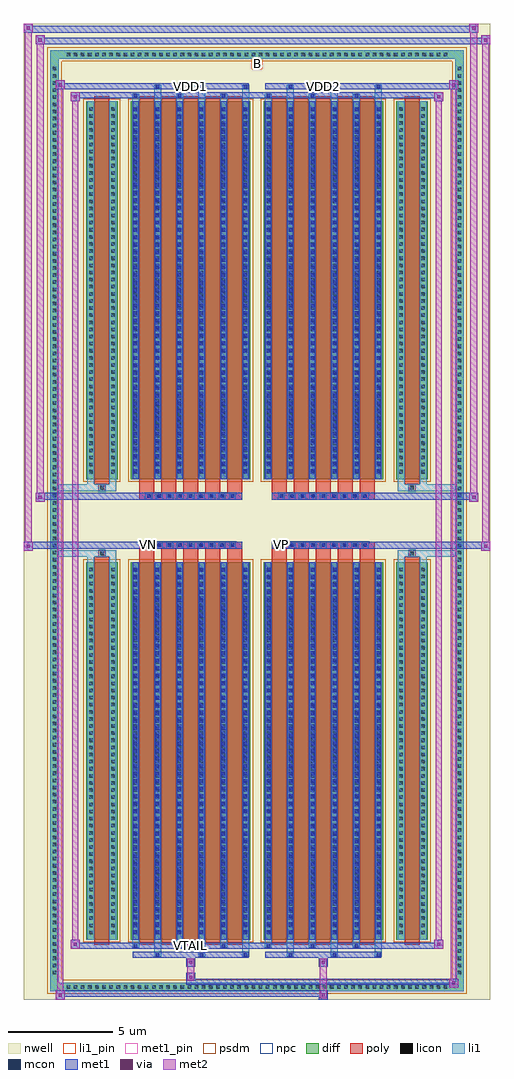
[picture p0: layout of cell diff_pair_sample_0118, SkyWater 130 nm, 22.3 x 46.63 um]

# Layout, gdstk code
import gdstk
lib = gdstk.Library(unit=1e-6, precision=5e-09)
def R(c, l, rs):  # rectangles x0, y0, x1, y1
    for r in rs: c.add(gdstk.rectangle(r[:2], r[2:], *l))
def A(c, l, x, y, w, h, nx, ny, dx, dy):  # array of equal rectangles
    R(c, l, [(x+i*dx, y+j*dy, x+i*dx+w, y+j*dy+h) for i in range(nx) for j in range(ny)])
def P(c, l, *ps):  # polygons
    for p in ps: c.add(gdstk.Polygon(p, *l))
nwell = (64, 20)
diff = (65, 20)
poly = (66, 20)
licon = (66, 44)
li1_pin = (67, 16)
li1 = (67, 20)
mcon = (67, 44)
met1_pin = (68, 16)
met1 = (68, 20)
via = (68, 44)
met2 = (69, 20)
psdm = (94, 20)
npc = (95, 20)

diff_pair_sample_0118 = lib.new_cell('diff_pair_sample_0118')
R(diff_pair_sample_0118, nwell, [(-11.15,-22.88,11.15,23.75), (-8.47,-21.07,-0.01,-0.805), (0.01,-21.07,8.47,-0.805), (-8.47,0.805,-0.01,21.07), (0.01,0.805,8.47,21.07)])
A(diff_pair_sample_0118, diff, -9.215, -22.48, 0.41, 0.41, 54, 2, 0.34, 44.55)
A(diff_pair_sample_0118, diff, -9.88, -21.795, 0.41, 0.41, 1, 128, 0, 0.34)
A(diff_pair_sample_0118, diff, 9.47, -21.795, 0.41, 0.41, 1, 128, 0, 0.34)
R(diff_pair_sample_0118, diff, [(-9.215,-22.48,9.215,-22.07), (-9.88,-21.795,-9.47,21.795), (9.47,-21.795,9.88,21.795), (-8.16,-20.025,-6.66,-1.985), (-6.02,-20.025,-0.32,-1.985), (0.32,-20.025,6.02,-1.985), (6.66,-20.025,8.16,-1.985), (-8.16,1.985,-6.66,20.025), (-6.02,1.985,-0.32,20.025), (0.32,1.985,6.02,20.025), (6.66,1.985,8.16,20.025), (-9.215,22.07,9.215,22.48)])
P(diff_pair_sample_0118, diff, [(9.88,22.48),(-9.88,22.48),(-9.88,-22.07),(-9.47,-22.07),(-9.47,22.07),(9.47,22.07),(9.47,-22.07),(-9.47,-22.07),(-9.88,-22.07),(-9.88,-22.48),(9.88,-22.48)])
A(diff_pair_sample_0118, poly, -5.63, -20.275, 0.72, 18.54, 5, 2, 1.05, 22.01)
A(diff_pair_sample_0118, poly, 0.71, -20.275, 0.72, 18.54, 5, 2, 1.05, 22.01)
A(diff_pair_sample_0118, poly, -5.63, -1.735, 0.72, 0.4, 5, 2, 1.05, 3.07)
A(diff_pair_sample_0118, poly, 0.71, -1.735, 0.72, 0.4, 5, 2, 1.05, 3.07)
A(diff_pair_sample_0118, poly, -5.335, -1.335, 0.33, 0.33, 9, 2, 0.5, 2.34)
A(diff_pair_sample_0118, poly, 1.005, -1.335, 0.33, 0.33, 9, 2, 0.5, 2.34)
R(diff_pair_sample_0118, poly, [(-7.77,-20.275,-7.05,-1.735), (7.05,-20.275,7.77,-1.735), (-7.575,-1.735,-7.245,-1.405), (-7.575,-1.735,-7.245,-1.405), (7.245,-1.735,7.575,-1.405), (7.245,-1.735,7.575,-1.405), (-5.63,-1.335,-0.71,-1.005), (0.71,-1.335,5.63,-1.005), (-5.63,1.005,-0.71,1.335), (0.71,1.005,5.63,1.335), (-7.575,1.405,-7.245,1.735), (-7.575,1.405,-7.245,1.735), (7.245,1.405,7.575,1.735), (7.245,1.405,7.575,1.735), (-7.77,1.735,-7.05,20.275), (7.05,1.735,7.77,20.275)])
A(diff_pair_sample_0118, licon, -9.095, -22.36, 0.17, 0.17, 54, 2, 0.34, 44.55)
A(diff_pair_sample_0118, licon, -9.76, -21.675, 0.17, 0.17, 1, 128, 0, 0.34)
A(diff_pair_sample_0118, licon, 9.59, -21.675, 0.17, 0.17, 1, 128, 0, 0.34)
A(diff_pair_sample_0118, licon, -8.02, -19.76, 0.17, 0.17, 1, 52, 0, 0.34)
A(diff_pair_sample_0118, licon, -6.97, -19.76, 0.17, 0.17, 1, 52, 0, 0.34)
A(diff_pair_sample_0118, licon, -5.88, -19.76, 0.17, 0.17, 6, 52, 1.05, 0.34)
A(diff_pair_sample_0118, licon, 0.46, -19.76, 0.17, 0.17, 6, 52, 1.05, 0.34)
A(diff_pair_sample_0118, licon, 6.8, -19.76, 0.17, 0.17, 1, 52, 0, 0.34)
A(diff_pair_sample_0118, licon, 7.85, -19.76, 0.17, 0.17, 1, 52, 0, 0.34)
A(diff_pair_sample_0118, licon, -5.255, -1.255, 0.17, 0.17, 9, 2, 0.5, 2.34)
A(diff_pair_sample_0118, licon, 1.085, -1.255, 0.17, 0.17, 9, 2, 0.5, 2.34)
A(diff_pair_sample_0118, licon, -8.02, 2.25, 0.17, 0.17, 1, 52, 0, 0.34)
A(diff_pair_sample_0118, licon, -6.97, 2.25, 0.17, 0.17, 1, 52, 0, 0.34)
A(diff_pair_sample_0118, licon, -5.88, 2.25, 0.17, 0.17, 6, 52, 1.05, 0.34)
A(diff_pair_sample_0118, licon, 0.46, 2.25, 0.17, 0.17, 6, 52, 1.05, 0.34)
A(diff_pair_sample_0118, licon, 6.8, 2.25, 0.17, 0.17, 1, 52, 0, 0.34)
A(diff_pair_sample_0118, licon, 7.85, 2.25, 0.17, 0.17, 1, 52, 0, 0.34)
R(diff_pair_sample_0118, licon, [(-7.495,-1.655,-7.325,-1.485), (7.325,-1.655,7.495,-1.485), (-7.495,1.485,-7.325,1.655), (7.325,1.485,7.495,1.655)])
R(diff_pair_sample_0118, li1_pin, [(-0.25,21.57,0.25,22.07)])
A(diff_pair_sample_0118, li1, -9.175, -22.44, 0.33, 0.33, 54, 2, 0.34, 44.55)
A(diff_pair_sample_0118, li1, -9.84, -21.755, 0.33, 0.33, 1, 128, 0, 0.34)
A(diff_pair_sample_0118, li1, 9.51, -21.755, 0.33, 0.33, 1, 128, 0, 0.34)
A(diff_pair_sample_0118, li1, -4.91, -20.83, 0.33, 0.805, 3, 2, 2.1, 40.855)
A(diff_pair_sample_0118, li1, -4.83, -20.83, 0.17, 0.17, 3, 2, 2.1, 41.49)
A(diff_pair_sample_0118, li1, 1.43, -20.83, 0.33, 0.805, 3, 2, 2.1, 40.855)
A(diff_pair_sample_0118, li1, 1.51, -20.83, 0.17, 0.17, 3, 2, 2.1, 41.49)
A(diff_pair_sample_0118, li1, -5.96, -20.4, 0.33, 0.375, 3, 2, 2.1, 40.425)
A(diff_pair_sample_0118, li1, -5.88, -20.4, 0.17, 0.17, 3, 2, 2.1, 40.63)
A(diff_pair_sample_0118, li1, 0.38, -20.4, 0.33, 0.375, 3, 2, 2.1, 40.425)
A(diff_pair_sample_0118, li1, 0.46, -20.4, 0.17, 0.17, 3, 2, 2.1, 40.63)
A(diff_pair_sample_0118, li1, -5.96, -20.025, 0.33, 18.04, 6, 2, 1.05, 22.01)
A(diff_pair_sample_0118, li1, 0.38, -20.025, 0.33, 18.04, 6, 2, 1.05, 22.01)
A(diff_pair_sample_0118, li1, -8.1, -19.84, 0.33, 0.33, 1, 52, 0, 0.34)
A(diff_pair_sample_0118, li1, -7.05, -19.84, 0.33, 0.33, 1, 52, 0, 0.34)
A(diff_pair_sample_0118, li1, -5.96, -19.84, 0.33, 0.33, 6, 52, 1.05, 0.34)
A(diff_pair_sample_0118, li1, 0.38, -19.84, 0.33, 0.33, 6, 52, 1.05, 0.34)
A(diff_pair_sample_0118, li1, 6.72, -19.84, 0.33, 0.33, 1, 52, 0, 0.34)
A(diff_pair_sample_0118, li1, 7.77, -19.84, 0.33, 0.33, 1, 52, 0, 0.34)
A(diff_pair_sample_0118, li1, -5.88, -19.73, 0.17, 0.17, 6, 49, 1.05, 0.36)
A(diff_pair_sample_0118, li1, -5.88, -19.73, 0.17, 17.45, 6, 2, 1.05, 22.01)
A(diff_pair_sample_0118, li1, 0.46, -19.73, 0.17, 0.17, 6, 49, 1.05, 0.36)
A(diff_pair_sample_0118, li1, 0.46, -19.73, 0.17, 17.45, 6, 2, 1.05, 22.01)
A(diff_pair_sample_0118, li1, -5.335, -1.335, 0.33, 0.33, 9, 2, 0.5, 2.34)
A(diff_pair_sample_0118, li1, 1.005, -1.335, 0.33, 0.33, 9, 2, 0.5, 2.34)
A(diff_pair_sample_0118, li1, -8.1, 2.17, 0.33, 0.33, 1, 52, 0, 0.34)
A(diff_pair_sample_0118, li1, -7.05, 2.17, 0.33, 0.33, 1, 52, 0, 0.34)
A(diff_pair_sample_0118, li1, -5.96, 2.17, 0.33, 0.33, 6, 52, 1.05, 0.34)
A(diff_pair_sample_0118, li1, 0.38, 2.17, 0.33, 0.33, 6, 52, 1.05, 0.34)
A(diff_pair_sample_0118, li1, 6.72, 2.17, 0.33, 0.33, 1, 52, 0, 0.34)
A(diff_pair_sample_0118, li1, 7.77, 2.17, 0.33, 0.33, 1, 52, 0, 0.34)
A(diff_pair_sample_0118, li1, -5.88, 2.28, 0.17, 0.17, 6, 49, 1.05, 0.36)
A(diff_pair_sample_0118, li1, 0.46, 2.28, 0.17, 0.17, 6, 49, 1.05, 0.36)
R(diff_pair_sample_0118, li1, [(-9.88,-22.48,-9.47,-22.07), (-9.88,-22.48,-9.47,-22.07), (-9.47,-22.48,9.47,-22.07), (9.47,-22.48,9.88,-22.07), (9.47,-22.48,9.88,-22.07), (-9.88,-22.07,-9.47,22.07), (9.47,-22.07,9.88,22.07), (-8.1,-20.025,-7.77,-1.985), (-7.05,-20.025,-6.72,-1.985), (6.72,-20.025,7.05,-1.985), (7.77,-20.025,8.1,-1.985), (-8.1,-1.985,-7.77,-1.405), (-7.05,-1.985,-6.72,-1.405), (6.72,-1.985,7.05,-1.405), (7.77,-1.985,8.1,-1.405), (-9.88,-1.735,-7.575,-1.405), (-8.1,-1.735,-7.575,-1.405), (-7.575,-1.735,-7.245,-1.405), (-7.245,-1.735,-6.72,-1.405), (6.72,-1.735,7.245,-1.405), (7.245,-1.735,7.575,-1.405), (7.245,-1.735,9.88,-1.405), (7.575,-1.735,8.1,-1.405), (-9.88,1.405,-7.575,1.735), (-8.1,1.405,-7.575,1.735), (-8.1,1.405,-7.77,1.985), (-7.575,1.405,-7.245,1.735), (-7.245,1.405,-6.72,1.735), (-7.05,1.405,-6.72,1.985), (6.72,1.405,7.245,1.735), (6.72,1.405,7.05,1.985), (7.245,1.405,7.575,1.735), (7.245,1.405,9.88,1.735), (7.575,1.405,8.1,1.735), (7.77,1.405,8.1,1.985), (-8.1,1.985,-7.77,20.025), (-7.05,1.985,-6.72,20.025), (6.72,1.985,7.05,20.025), (7.77,1.985,8.1,20.025), (-9.88,22.07,-9.47,22.48), (-9.88,22.07,-9.47,22.48), (-9.47,22.07,9.47,22.48), (9.47,22.07,9.88,22.48), (9.47,22.07,9.88,22.48)])
A(diff_pair_sample_0118, mcon, -4.83, -20.83, 0.17, 0.17, 3, 2, 2.1, 41.49)
A(diff_pair_sample_0118, mcon, 1.51, -20.83, 0.17, 0.17, 3, 2, 2.1, 41.49)
A(diff_pair_sample_0118, mcon, -5.88, -20.4, 0.17, 0.17, 3, 2, 2.1, 40.63)
A(diff_pair_sample_0118, mcon, 0.46, -20.4, 0.17, 0.17, 3, 2, 2.1, 40.63)
A(diff_pair_sample_0118, mcon, -5.88, -19.73, 0.17, 0.17, 6, 49, 1.05, 0.36)
A(diff_pair_sample_0118, mcon, 0.46, -19.73, 0.17, 0.17, 6, 49, 1.05, 0.36)
A(diff_pair_sample_0118, mcon, -5.255, -1.255, 0.17, 0.17, 9, 2, 0.5, 2.34)
A(diff_pair_sample_0118, mcon, 1.085, -1.255, 0.17, 0.17, 9, 2, 0.5, 2.34)
A(diff_pair_sample_0118, mcon, -5.88, 2.28, 0.17, 0.17, 6, 49, 1.05, 0.36)
A(diff_pair_sample_0118, mcon, 0.46, 2.28, 0.17, 0.17, 6, 49, 1.05, 0.36)
R(diff_pair_sample_0118, met1_pin, [(-3.305,-20.44,-3.035,-20.17), (-5.305,-1.295,-5.035,-1.025), (1.035,-1.295,1.305,-1.025), (-3.305,20.62,-3.035,20.89), (3.035,20.62,3.305,20.89)])
A(diff_pair_sample_0118, met1, -4.89, -20.89, 0.29, 0.29, 3, 2, 2.1, 41.49)
A(diff_pair_sample_0118, met1, 1.45, -20.89, 0.29, 0.29, 3, 2, 2.1, 41.49)
A(diff_pair_sample_0118, met1, -5.94, -20.46, 0.29, 0.29, 3, 2, 2.1, 40.63)
A(diff_pair_sample_0118, met1, 0.4, -20.46, 0.29, 0.29, 3, 2, 2.1, 40.63)
A(diff_pair_sample_0118, met1, -5.94, -20.025, 0.29, 18.04, 6, 2, 1.05, 22.01)
A(diff_pair_sample_0118, met1, 0.4, -20.025, 0.29, 18.04, 6, 2, 1.05, 22.01)
A(diff_pair_sample_0118, met1, -5.94, -19.79, 0.29, 0.29, 6, 49, 1.05, 0.36)
A(diff_pair_sample_0118, met1, 0.4, -19.79, 0.29, 0.29, 6, 49, 1.05, 0.36)
A(diff_pair_sample_0118, met1, -5.315, -1.315, 0.29, 0.29, 9, 2, 0.5, 2.34)
A(diff_pair_sample_0118, met1, 1.025, -1.315, 0.29, 0.29, 9, 2, 0.5, 2.34)
A(diff_pair_sample_0118, met1, -5.94, 2.22, 0.29, 0.29, 6, 49, 1.05, 0.36)
A(diff_pair_sample_0118, met1, 0.4, 2.22, 0.29, 0.29, 6, 49, 1.05, 0.36)
R(diff_pair_sample_0118, met1, [(-9.61,-22.88,-9.18,-22.45), (2.955,-22.88,3.385,-22.45), (-9.61,-22.74,3.385,-22.45), (9.18,-22.31,9.61,-21.88), (-3.385,-22.17,9.61,-21.88), (-3.385,-22.03,-2.955,-21.6), (-3.385,-21.32,-2.955,-20.89), (2.955,-21.32,3.385,-20.89), (-5.94,-20.89,-0.4,-20.6), (0.4,-20.89,5.94,-20.6), (-8.9,-20.46,-8.47,-20.03), (-8.9,-20.46,-5.94,-20.17), (-5.94,-20.46,-0.4,-20.17), (-0.4,-20.46,0.4,-20.17), (0.4,-20.46,5.94,-20.17), (5.94,-20.46,8.9,-20.17), (8.47,-20.46,8.9,-20.03), (-11.15,-1.435,-10.72,-1.005), (10.72,-1.435,11.15,-1.005), (-11.15,-1.335,-0.71,-1.005), (-5.63,-1.335,-0.71,-1.005), (0.71,-1.335,5.63,-1.005), (0.71,-1.335,11.15,-1.005), (-10.58,0.905,-10.15,1.335), (10.15,0.905,10.58,1.335), (-10.58,1.005,-5.63,1.335), (-5.63,1.005,-0.71,1.335), (0.71,1.005,5.63,1.335), (5.63,1.005,10.58,1.335), (-8.9,20.03,-8.47,20.46), (8.47,20.03,8.9,20.46), (-8.9,20.17,-5.94,20.46), (-5.94,20.17,-0.4,20.46), (-0.4,20.17,0.4,20.46), (0.4,20.17,5.94,20.46), (5.94,20.17,8.9,20.46), (-9.61,20.6,-9.18,21.03), (-9.61,20.6,-5.94,20.89), (-5.94,20.6,-0.4,20.89), (0.4,20.6,5.94,20.89), (5.94,20.6,9.61,20.89), (9.18,20.6,9.61,21.03), (-10.58,22.75,-10.15,23.18), (-10.58,22.75,-8.47,23.08), (-8.47,22.75,8.47,23.08), (8.47,22.75,11.15,23.08), (10.72,22.75,11.15,23.18), (-11.15,23.32,-10.72,23.75), (-11.15,23.32,-8.47,23.65), (-8.47,23.32,8.47,23.65), (8.47,23.32,10.58,23.65), (10.15,23.32,10.58,23.75)])
R(diff_pair_sample_0118, via, [(-9.47,-22.74,-9.32,-22.59), (3.095,-22.74,3.245,-22.59), (9.32,-22.17,9.47,-22.02), (-3.245,-21.89,-3.095,-21.74), (-3.245,-21.18,-3.095,-21.03), (3.095,-21.18,3.245,-21.03), (-8.76,-20.32,-8.61,-20.17), (8.61,-20.32,8.76,-20.17), (-11.01,-1.295,-10.86,-1.145), (10.86,-1.295,11.01,-1.145), (-10.44,1.045,-10.29,1.195), (10.29,1.045,10.44,1.195), (-8.76,20.17,-8.61,20.32), (8.61,20.17,8.76,20.32), (-9.47,20.74,-9.32,20.89), (9.32,20.74,9.47,20.89), (-10.44,22.89,-10.29,23.04), (10.86,22.89,11.01,23.04), (-11.01,23.46,-10.86,23.61), (10.29,23.46,10.44,23.61)])
R(diff_pair_sample_0118, met2, [(-9.61,-22.88,-9.18,-22.45), (-9.54,-22.88,-9.25,21.03), (-9.25,-22.88,-9.18,-22.45), (-9.56,-22.83,-9.23,-22.5), (3.005,-22.83,3.335,-22.5), (3.005,-22.5,3.335,-21.27), (9.18,-22.31,9.61,-21.88), (9.25,-22.31,9.54,21.03), (9.54,-22.31,9.61,-21.88), (9.23,-22.26,9.56,-21.93), (-3.335,-21.98,-3.005,-21.65), (-3.335,-21.65,-3.005,-21.27), (-3.335,-21.27,-3.005,-20.94), (3.005,-21.27,3.335,-20.94), (-8.9,-20.46,-8.47,-20.03), (-8.83,-20.46,-8.54,20.46), (-8.54,-20.46,-8.47,-20.03), (8.47,-20.46,8.9,-20.03), (8.54,-20.46,8.83,20.46), (8.83,-20.46,8.9,-20.03), (-8.85,-20.41,-8.52,-20.08), (8.52,-20.41,8.85,-20.08), (-11.15,-1.435,-10.72,-1.005), (-11.1,-1.435,-10.77,23.75), (-10.77,-1.435,-10.72,-1.005), (10.72,-1.435,11.15,-1.005), (10.77,-1.435,11.1,23.18), (11.1,-1.435,11.15,-1.005), (-11.1,-1.385,-10.77,-1.055), (10.77,-1.385,11.1,-1.055), (-10.58,0.905,-10.15,1.335), (-10.53,0.905,-10.2,23.18), (-10.2,0.905,-10.15,1.335), (10.15,0.905,10.58,1.335), (10.2,0.905,10.53,23.75), (10.53,0.905,10.58,1.335), (-10.53,0.955,-10.2,1.285), (10.2,0.955,10.53,1.285), (-8.9,20.03,-8.47,20.46), (-8.54,20.03,-8.47,20.46), (8.47,20.03,8.9,20.46), (8.83,20.03,8.9,20.46), (-8.85,20.08,-8.52,20.41), (8.52,20.08,8.85,20.41), (-9.61,20.6,-9.18,21.03), (-9.25,20.6,-9.18,21.03), (9.18,20.6,9.61,21.03), (9.54,20.6,9.61,21.03), (-9.56,20.65,-9.23,20.98), (9.23,20.65,9.56,20.98), (-10.58,22.75,-10.15,23.18), (-10.2,22.75,-10.15,23.18), (10.72,22.75,11.15,23.18), (11.1,22.75,11.15,23.18), (-10.53,22.8,-10.2,23.13), (10.77,22.8,11.1,23.13), (-11.15,23.32,-10.72,23.75), (-10.77,23.32,-10.72,23.75), (10.15,23.32,10.58,23.75), (10.53,23.32,10.58,23.75), (-11.1,23.37,-10.77,23.7), (10.2,23.37,10.53,23.7)])
R(diff_pair_sample_0118, psdm, [(-8.29,-20.155,-6.53,-1.855), (-6.15,-20.155,-0.19,-1.855), (0.19,-20.155,6.15,-1.855), (6.53,-20.155,8.29,-1.855), (-8.29,1.855,-6.53,20.155), (-6.15,1.855,-0.19,20.155), (0.19,1.855,6.15,20.155), (6.53,1.855,8.29,20.155)])
P(diff_pair_sample_0118, psdm, [(10.01,22.61),(-10.01,22.61),(-10.01,-21.94),(-9.34,-21.94),(-9.34,21.94),(9.34,21.94),(9.34,-21.94),(-9.34,-21.94),(-10.01,-21.94),(-10.01,-22.61),(10.01,-22.61)])
A(diff_pair_sample_0118, npc, -5.355, -1.355, 0.37, 0.37, 9, 2, 0.5, 2.34)
A(diff_pair_sample_0118, npc, 0.985, -1.355, 0.37, 0.37, 9, 2, 0.5, 2.34)
R(diff_pair_sample_0118, npc, [(-7.595,-1.755,-7.225,-1.385), (7.225,-1.755,7.595,-1.385), (-5.355,-1.355,-4.485,-0.985), (-5.355,-1.355,-4.485,-0.985), (-4.855,-1.355,-3.985,-0.985), (-4.855,-1.355,-3.985,-0.985), (-4.355,-1.355,-3.485,-0.985), (-4.355,-1.355,-3.485,-0.985), (-3.855,-1.355,-2.985,-0.985), (-3.855,-1.355,-2.985,-0.985), (-3.355,-1.355,-2.485,-0.985), (-3.355,-1.355,-2.485,-0.985), (-2.855,-1.355,-1.985,-0.985), (-2.855,-1.355,-1.985,-0.985), (-2.355,-1.355,-1.485,-0.985), (-2.355,-1.355,-1.485,-0.985), (-1.855,-1.355,-0.985,-0.985), (-1.855,-1.355,-0.985,-0.985), (0.985,-1.355,1.855,-0.985), (0.985,-1.355,1.855,-0.985), (1.485,-1.355,2.355,-0.985), (1.485,-1.355,2.355,-0.985), (1.985,-1.355,2.855,-0.985), (1.985,-1.355,2.855,-0.985), (2.485,-1.355,3.355,-0.985), (2.485,-1.355,3.355,-0.985), (2.985,-1.355,3.855,-0.985), (2.985,-1.355,3.855,-0.985), (3.485,-1.355,4.355,-0.985), (3.485,-1.355,4.355,-0.985), (3.985,-1.355,4.855,-0.985), (3.985,-1.355,4.855,-0.985), (4.485,-1.355,5.355,-0.985), (4.485,-1.355,5.355,-0.985), (-5.355,0.985,-4.485,1.355), (-5.355,0.985,-4.485,1.355), (-4.855,0.985,-3.985,1.355), (-4.855,0.985,-3.985,1.355), (-4.355,0.985,-3.485,1.355), (-4.355,0.985,-3.485,1.355), (-3.855,0.985,-2.985,1.355), (-3.855,0.985,-2.985,1.355), (-3.355,0.985,-2.485,1.355), (-3.355,0.985,-2.485,1.355), (-2.855,0.985,-1.985,1.355), (-2.855,0.985,-1.985,1.355), (-2.355,0.985,-1.485,1.355), (-2.355,0.985,-1.485,1.355), (-1.855,0.985,-0.985,1.355), (-1.855,0.985,-0.985,1.355), (0.985,0.985,1.855,1.355), (0.985,0.985,1.855,1.355), (1.485,0.985,2.355,1.355), (1.485,0.985,2.355,1.355), (1.985,0.985,2.855,1.355), (1.985,0.985,2.855,1.355), (2.485,0.985,3.355,1.355), (2.485,0.985,3.355,1.355), (2.985,0.985,3.855,1.355), (2.985,0.985,3.855,1.355), (3.485,0.985,4.355,1.355), (3.485,0.985,4.355,1.355), (3.985,0.985,4.855,1.355), (3.985,0.985,4.855,1.355), (4.485,0.985,5.355,1.355), (4.485,0.985,5.355,1.355), (-7.595,1.385,-7.225,1.755), (7.225,1.385,7.595,1.755)])
diff_pair_sample_0118.add(gdstk.Label('VTAIL', (-3.17,-20.305), layer=68, texttype=5))
diff_pair_sample_0118.add(gdstk.Label('VN', (-5.17,-1.16), layer=68, texttype=5))
diff_pair_sample_0118.add(gdstk.Label('VP', (1.17,-1.16), layer=68, texttype=5))
diff_pair_sample_0118.add(gdstk.Label('B', (0,21.82), layer=67, texttype=5))
diff_pair_sample_0118.add(gdstk.Label('VDD2', (3.17,20.755), layer=68, texttype=5))
diff_pair_sample_0118.add(gdstk.Label('VDD1', (-3.17,20.755), layer=68, texttype=5))

lib.write_gds('diff_pair_sample_0118.gds')
